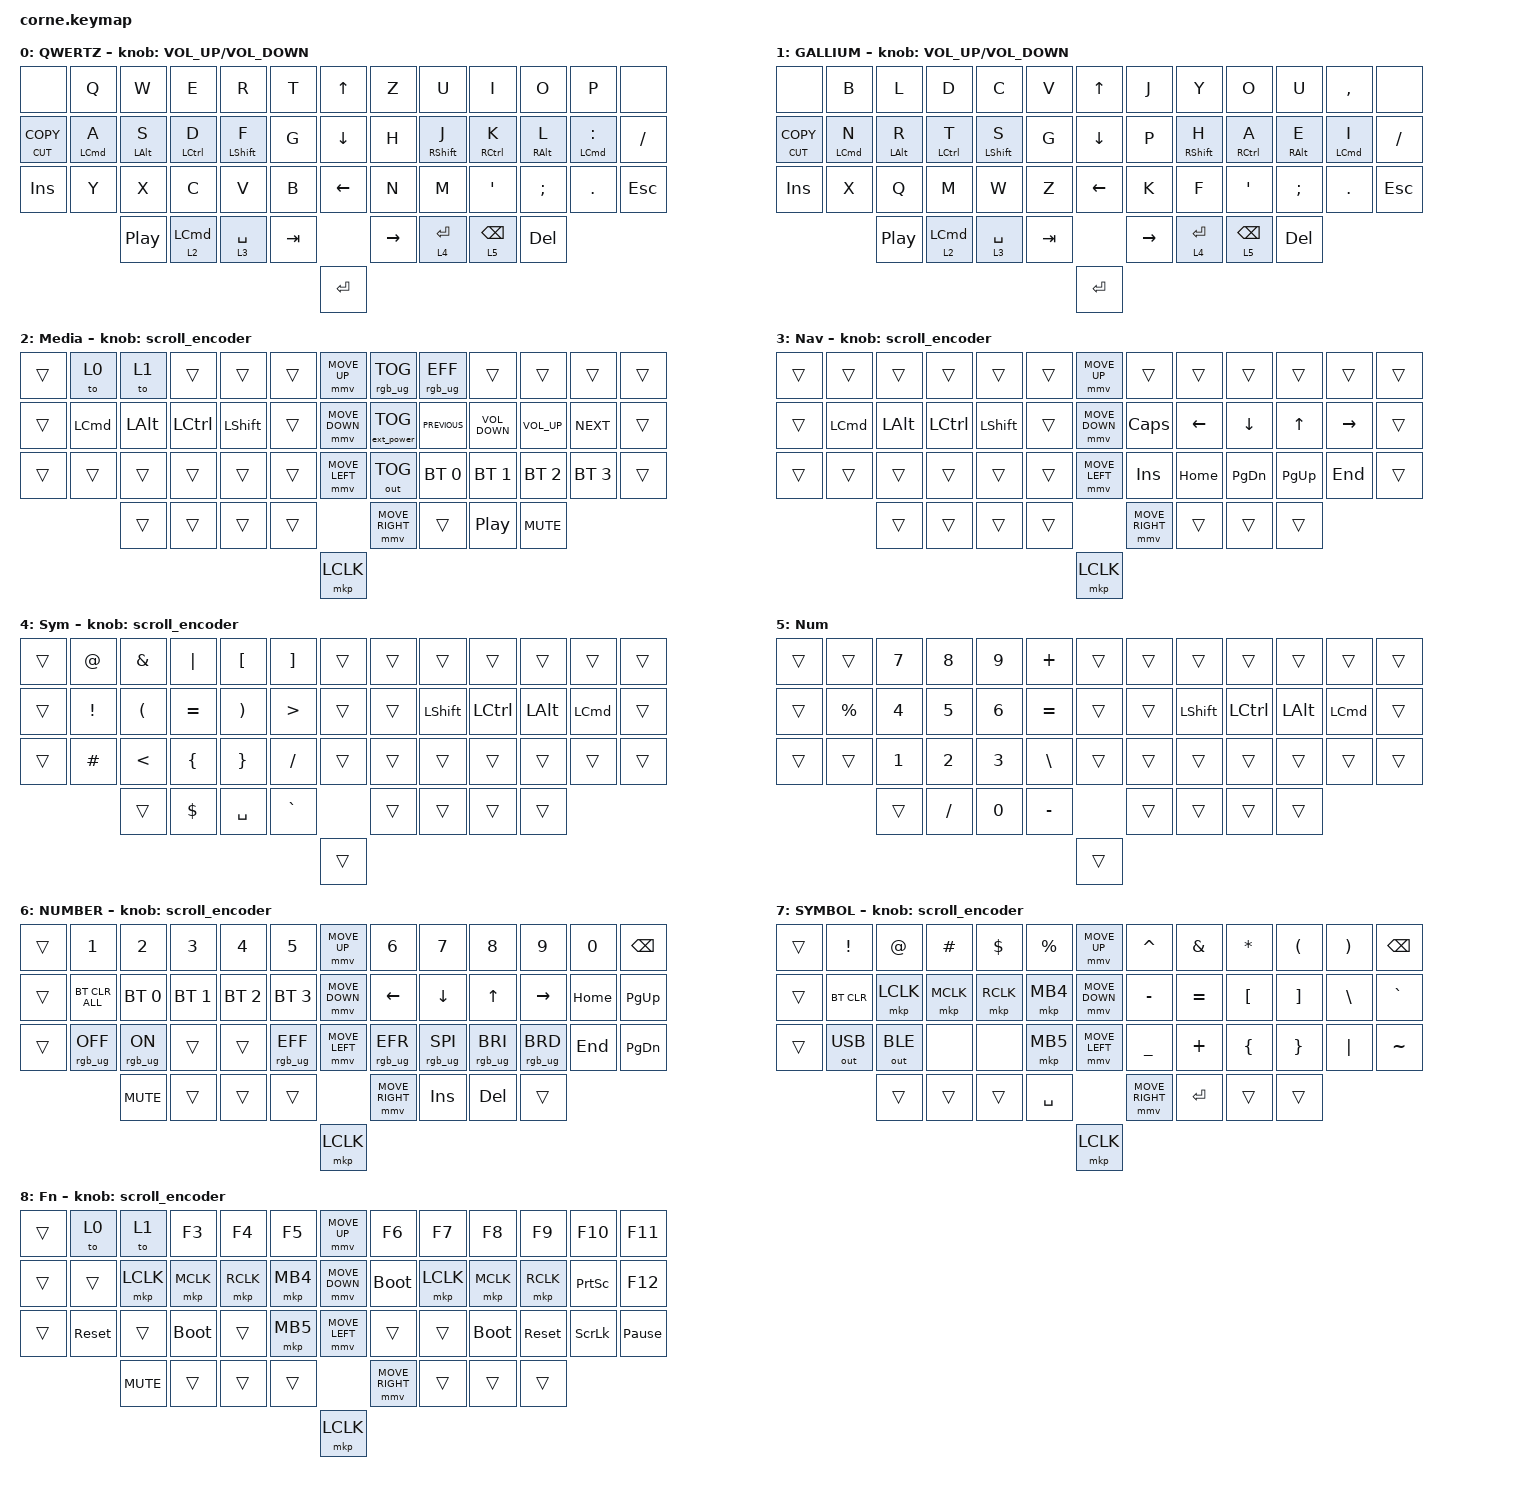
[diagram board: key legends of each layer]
#include <behaviors/mouse_keys.dtsi>
#include <behaviors.dtsi>
#include <dt-bindings/zmk/bt.h>
#include <dt-bindings/zmk/ext_power.h>
#include <dt-bindings/zmk/keys.h>
#include <dt-bindings/zmk/mouse.h>
#include <dt-bindings/zmk/outputs.h>
#include <dt-bindings/zmk/rgb.h>
#include "zmk-helpers/helper.h"
#include "zmk-helpers/key-labels/42.h" 

#define ZMK_MOUSE_DEFAULT_MOVE_VAL 1200  // 600
#define ZMK_MOUSE_DEFAULT_SCRL_VAL 20    // 10
#define U_MS_U &mmv MOVE_UP
#define U_MS_D &mmv MOVE_DOWN
#define U_MS_L &mmv MOVE_LEFT
#define U_MS_R &mmv MOVE_RIGHT

#define KEYS_L LT0 LT1 LT2 LT3 LT4 LT5 LM0 LM1 LM2 LM3 LM4 LM5 LB0 LB1 LB2 LB3 LB4 LB5   // left-hand keys
#define KEYS_R RT0 RT1 RT2 RT3 RT4 RT5 RM0 RM1 RM2 RM3 RM4 RM5 RB0 RB1 RB2 RB3 RB4 RB5  // right-hand keys
#define THUMBS LH2 LH1 LH0 RH0 RH1 RH2   

/* left-hand HRMs */
ZMK_HOLD_TAP(hml,
    flavor = "balanced";
    tapping-term-ms = <280>;
    quick-tap-ms = <175>;                
    require-prior-idle-ms = <150>;
    bindings = <&kp>, <&kp>;
    hold-trigger-key-positions = <KEYS_R THUMBS>;
    hold-trigger-on-release;             
)

/* right-hand HRMs */
ZMK_HOLD_TAP(hmr,
    flavor = "balanced";
    tapping-term-ms = <280>;
    quick-tap-ms = <175>;                
    require-prior-idle-ms = <150>;
    bindings = <&kp>, <&kp>;
    hold-trigger-key-positions = <KEYS_L THUMBS>;
    hold-trigger-on-release;             
)

/ {
    behaviors {
        td0: td0 {
            compatible = "zmk,behavior-tap-dance";
            label = "TD0";
            #binding-cells = <0>;
            bindings = <&kp LEFT_SHIFT>, <&kp CAPS>;
        };

        mmv {
            acceleration-exponent = <1>;      
            time-to-max-speed-ms = <900>;    
            delay-ms = <0>;                   
        };

        msc {
            acceleration-exponent = <1>;      
            time-to-max-speed-ms = <400>;      
            delay-ms = <0>;                   
        };
    };

    rgb_encoder: rgb_encoder {
        compatible = "zmk,behavior-sensor-rotate";
        label = "RGB_ENCODER";
        #sensor-binding-cells = <0>;
        bindings = <&rgb_ug RGB_BRI>, <&rgb_ug RGB_BRD>;
    };

    scroll_encoder: scroll_encoder {
        compatible = "zmk,behavior-sensor-rotate";
        #sensor-binding-cells = <0>;
        bindings = <&msc SCRL_DOWN>, <&msc SCRL_UP>;
        tap-ms = <30>;
    };

    keymap {
        compatible = "zmk,keymap";

        // Layer 0
        default_layer {
            display-name = "QWERTZ";
            bindings = <
&none             &kp Q  &kp W           &kp E               &kp R             &kp T      &kp UP_ARROW     &kp Z        &kp U              &kp I                &kp O            &kp P   &none
&mt K_CUT K_COPY  &hml LEFT_COMMAND A  &hml LEFT_ALT S  &hml LCTRL D         &hml LEFT_SHIFT F  &kp G      &kp DOWN_ARROW   &kp H        &hmr RIGHT_SHIFT J  &hmr RIGHT_CONTROL K  &hmr RIGHT_ALT L  &hmr LEFT_COMMAND COLON       &kp SLASH
&kp INSERT        &kp Y  &kp X           &kp C               &kp V             &kp B      &kp LEFT_ARROW   &kp N        &kp M              &kp APOSTROPHE       &kp SEMICOLON    &kp PERIOD  &kp ESCAPE
                         &kp C_PLAY_PAUSE       &lt 2 LEFT_COMMAND  &lt 3 SPACE       &kp TAB    &kp RIGHT_ARROW  &lt 4 ENTER  &lt 5 BACKSPACE    &kp DELETE
                                                                                          &kp ENTER
            >;
            label = "QWERTZ";
            sensor-bindings = <&inc_dec_kp C_VOLUME_UP C_VOLUME_DOWN>;
        };

        // Layer 1
        gallium {
            display-name = "GALLIUM";
            bindings = <
&none             &kp B  &kp L           &kp D               &kp C             &kp V      &kp UP_ARROW     &kp J        &kp Y              &kp O                &kp U            &kp COMMA   &none
&mt K_CUT K_COPY  &hml LEFT_COMMAND N  &hml LEFT_ALT R  &hml LCTRL T         &hml LEFT_SHIFT S  &kp G      &kp DOWN_ARROW   &kp P        &hmr RIGHT_SHIFT H  &hmr RIGHT_CONTROL A  &hmr RIGHT_ALT E  &hmr LEFT_COMMAND I       &kp SLASH
&kp INSERT        &kp X  &kp Q           &kp M               &kp W             &kp Z      &kp LEFT_ARROW   &kp K        &kp F              &kp APOSTROPHE       &kp SEMICOLON    &kp PERIOD  &kp ESCAPE
                         &kp C_PLAY_PAUSE       &lt 2 LEFT_COMMAND  &lt 3 SPACE       &kp TAB    &kp RIGHT_ARROW  &lt 4 ENTER  &lt 5 BACKSPACE    &kp DELETE
                                                                                          &kp ENTER
            >;
            label = "GALLIUMv1";
            sensor-bindings = <&inc_dec_kp C_VOLUME_UP C_VOLUME_DOWN>;
        };

        // Layer 2
        media {
            bindings = <
&trans  &to 0             &to 1         &trans     &trans          &trans    &mmv MOVE_UP     &rgb_ug RGB_TOG    &rgb_ug RGB_EFF   &trans             &trans           &trans        &trans
&trans  &kp LEFT_COMMAND  &kp LEFT_ALT  &kp LCTRL  &kp LEFT_SHIFT  &trans    &mmv MOVE_DOWN   &ext_power EP_TOG  &kp C_PREVIOUS    &kp C_VOLUME_DOWN  &kp C_VOLUME_UP  &kp C_NEXT    &trans
&trans  &trans            &trans        &trans     &trans          &trans    &mmv MOVE_LEFT   &out OUT_TOG       &bt BT_SEL 0      &bt BT_SEL 1       &bt BT_SEL 2     &bt BT_SEL 3  &trans
                          &trans        &trans     &trans          &trans    &mmv MOVE_RIGHT  &trans             &kp C_PLAY_PAUSE  &kp C_MUTE
                                                                             &mkp LCLK
            >;

            label = "Media";
            sensor-bindings = <&scroll_encoder>;
        };

        // Layer 3
        nav {
            bindings = <
&trans  &trans            &trans        &trans     &trans          &trans    &mmv MOVE_UP     &trans        &trans    &trans         &trans       &trans     &trans
&trans  &kp LEFT_COMMAND  &kp LEFT_ALT  &kp LCTRL  &kp LEFT_SHIFT  &trans    &mmv MOVE_DOWN   &kp CAPSLOCK  &kp LEFT  &kp DOWN       &kp UP       &kp RIGHT  &trans
&trans  &trans            &trans        &trans     &trans          &trans    &mmv MOVE_LEFT   &kp INSERT    &kp HOME  &kp PAGE_DOWN  &kp PAGE_UP  &kp END    &trans
                          &trans        &trans     &trans          &trans    &mmv MOVE_RIGHT  &trans        &trans    &trans
                                                                             &mkp LCLK
            >;
            label = "Nav";
            sensor-bindings = <&scroll_encoder>;
        };

        // Layer 4
        sym {
            bindings = <
&trans  &kp AT           &kp AMPERSAND          &kp PIPE        &kp LEFT_BRACKET       &kp RIGHT_BRACKET  &trans  &trans  &trans          &trans     &trans        &trans            &trans
&trans  &kp EXCLAMATION  &kp LEFT_PARENTHESIS   &kp EQUAL       &kp RIGHT_PARENTHESIS  &kp GREATER_THAN   &trans  &trans  &kp LEFT_SHIFT  &kp LCTRL  &kp LEFT_ALT  &kp LEFT_COMMAND  &trans
&trans  &kp HASH         &kp LESS_THAN          &kp LEFT_BRACE  &kp RIGHT_BRACE        &kp SLASH          &trans  &trans  &trans          &trans     &trans        &trans            &trans
                         &trans                 &kp DOLLAR      &kp SPACE              &kp GRAVE          &trans  &trans  &trans          &trans
                                                                                       &trans
            >;
            label = "Sym";
            sensor-bindings = <&scroll_encoder>;
        };

        // Layer 5
        num {
            bindings = <
&trans  &trans       &kp N7  &kp N8  &kp N9  &kp PLUS         &trans  &trans  &trans          &trans     &trans        &trans            &trans
&trans  &kp PERCENT  &kp N4  &kp N5  &kp N6  &kp EQUAL        &trans  &trans  &kp LEFT_SHIFT  &kp LCTRL  &kp LEFT_ALT  &kp LEFT_COMMAND  &trans
&trans  &trans       &kp N1  &kp N2  &kp N3  &kp BACKSLASH    &trans  &trans  &trans          &trans     &trans        &trans            &trans
                     &trans        &kp SLASH     &kp N0  &kp MINUS        &trans  &trans  &trans          &trans
                                                                                &trans
            >;
            label = "Num";
        };

        // Layer 6
        lower_layer {
            display-name = "NUMBER";
            bindings = <
&trans  &kp N1           &kp N2          &kp N3        &kp N4        &kp N5             &mmv MOVE_UP     &kp N6           &kp N7           &kp N8           &kp N9           &kp N0    &kp BSPC
&trans  &bt BT_CLR_ALL   &bt BT_SEL 0    &bt BT_SEL 1  &bt BT_SEL 2  &bt BT_SEL 3       &mmv MOVE_DOWN   &kp LEFT         &kp DOWN         &kp UP           &kp RIGHT        &kp HOME  &kp PG_UP
&trans  &rgb_ug RGB_OFF  &rgb_ug RGB_ON  &trans        &trans        &rgb_ug RGB_EFF    &mmv MOVE_LEFT   &rgb_ug RGB_EFR  &rgb_ug RGB_SPI  &rgb_ug RGB_BRI  &rgb_ug RGB_BRD  &kp END   &kp PG_DN
                         &kp C_MUTE      &trans        &trans        &trans             &mmv MOVE_RIGHT  &kp INS          &kp DEL          &trans
                                                                                        &mkp LCLK
            >;
            label = "NUMBER";
            sensor-bindings = <&scroll_encoder>;
        };

        // Layer 7
        raise_layer {
            display-name = "SYMBOL";
            bindings = <
&trans  &kp EXCL      &kp AT        &kp HASH   &kp DLLR   &kp PRCNT    &mmv MOVE_UP     &kp CARET  &kp AMPS   &kp ASTRK  &kp LPAR  &kp RPAR  &kp BSPC
&trans  &bt BT_CLR    &mkp LCLK     &mkp MCLK  &mkp RCLK  &mkp MB4     &mmv MOVE_DOWN   &kp MINUS  &kp EQUAL  &kp LBKT   &kp RBKT  &kp BSLH  &kp GRAVE
&trans  &out OUT_USB  &out OUT_BLE  &none      &none      &mkp MB5     &mmv MOVE_LEFT   &kp UNDER  &kp PLUS   &kp LBRC   &kp RBRC  &kp PIPE  &kp TILDE
                      &trans        &trans     &trans     &kp SPACE    &mmv MOVE_RIGHT  &kp RET    &trans     &trans
                                                                       &mkp LCLK
            >;
            label = "SYMBOL";
            sensor-bindings = <&scroll_encoder>;
        };

        // Layer 8
        layer_3 {
            display-name = "Fn";
            bindings = <
&trans  &to 0       &to 1       &kp F3       &kp F4     &kp F5      &mmv MOVE_UP     &kp F6       &kp F7     &kp F8       &kp F9      &kp F10          &kp F11
&trans  &trans      &mkp LCLK   &mkp MCLK    &mkp RCLK  &mkp MB4    &mmv MOVE_DOWN   &bootloader  &mkp LCLK  &mkp MCLK    &mkp RCLK   &kp PRINTSCREEN  &kp F12
&trans  &sys_reset  &trans      &bootloader  &trans     &mkp MB5    &mmv MOVE_LEFT   &trans       &trans     &bootloader  &sys_reset  &kp SCROLLLOCK   &kp PAUSE_BREAK
                    &kp C_MUTE  &trans       &trans     &trans      &mmv MOVE_RIGHT  &trans       &trans     &trans
                                                                    &mkp LCLK
            >;
            label = "FN";
            sensor-bindings = <&scroll_encoder>;
        };
    };
};
